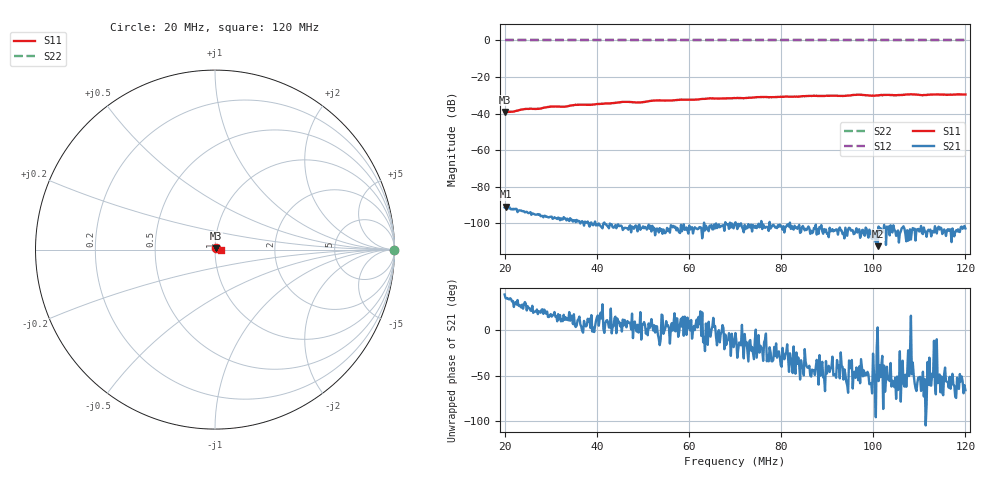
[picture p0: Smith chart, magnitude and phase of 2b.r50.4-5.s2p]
! Anritsu VNA Master:  Model: MS2036C/10/77
! SN:  1601066
! /card0/usr/18may27.balun/252b.r50.3.s2p
! Existing Calibration Information:
! TYPE:  Current Settings,  Active Cal Settings
! TIME:  05/27/2018 01:03:25 PM,  05/27/2018 12:49:51 PM
! INTERNAL TEMP:  52.3 C,  52.5 C
! # POINTS:  500,  500
! START FREQ:  20.000 MHz,  20.000 MHz
! STOP FREQ:  120.000 MHz,  120.000 MHz
! SOURCE POWER:  High,  High
! IFBW:  50 Hz,  50 Hz
! AVG FACTOR:  1 ,  1
! REF PLANE 1:  0 mm,  0 mm
! REF PLANE 2:  0 mm,  0 mm
! CAL TYPE:  Full S11,  Full S11
! CAL METHOD:  SOLT,  SOLT
! CAL LINE TYPE:  Coax,  Coax
! DUT PORT 1:  K-Conn(M),  K-Conn(M)
! DUT PORT 2:  K-Conn(M),  K-Conn(M)
! CAL STATUS:  OK: Accuracy High,  --
# GHZ S DB R 50.0
! FREQ.GHZ  S11DB  S11A  S21DB  S21A  S12DB  S12A  S22DB  S22A
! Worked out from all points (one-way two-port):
!   500 points, 20 MHz to 120 MHz, reference 50 ohm
!   highest |S21| = -91.03 dB at 20.2 MHz (marker M1); lowest = -112.6 dB at 101 MHz (marker M2)
!   lowest |S11| = -39.1 dB at 20 MHz (marker M3), VSWR 1.02, Z = 50.7 + j0.89 ohm
!   |S11| at or under -10 dB: start of sweep to end of sweep
!   |S22| runs from 0.0 to 0.0 dB; largest |S21 - S12| = 1
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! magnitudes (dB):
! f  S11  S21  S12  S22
! 20 MHz  -39.1  -91.4  0.0  0.0
! 20.2 MHz  -39.1  -91.0  0.0  0.0
! 21.8 MHz  -39.0  -92.5  0.0  0.0
! 24.61 MHz  -37.5  -93.8  0.0  0.0
! 27.21 MHz  -37.4  -95.0  0.0  0.0
! 30.02 MHz  -36.2  -96.5  0.0  0.0
! 33.03 MHz  -36.3  -97.4  0.0  0.0
! 35.43 MHz  -35.2  -99.4  0.0  0.0
! 36.83 MHz  -35.2  -98.9  0.0  0.0
! 38.84 MHz  -35.1  -99.6  0.0  0.0
! 46.05 MHz  -33.6  -102.5  0.0  0.0
! 49.66 MHz  -33.9  -102.7  0.0  0.0
! 53.47 MHz  -32.8  -105.1  0.0  0.0
! 64.69 MHz  -31.6  -102.2  0.0  0.0
! 70.1 MHz  -31.6  -99.5  0.0  0.0
! 86.73 MHz  -30.3  -105.5  0.0  0.0
! 93.75 MHz  -30.3  -108.3  0.0  0.0
! 96.75 MHz  -29.7  -104.1  0.0  0.0
! 99.36 MHz  -30.2  -105.6  0.0  0.0
! 101 MHz  -30.1  -112.6  0.0  0.0
! 103.4 MHz  -29.8  -101.8  0.0  0.0
! 120 MHz  -29.6  -102.9  0.0  0.0
